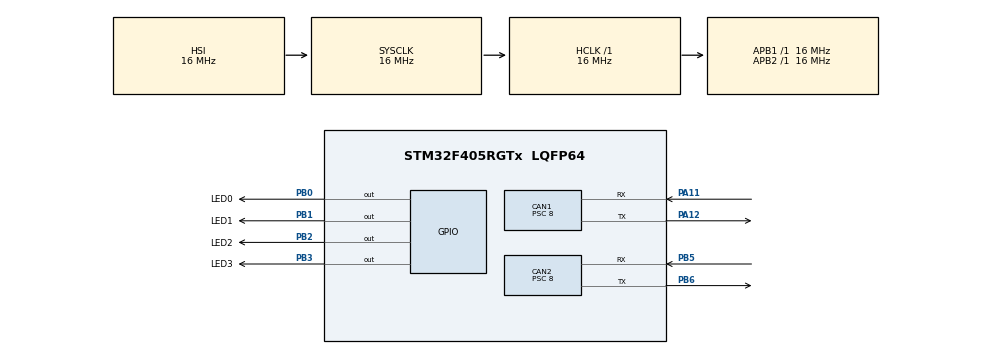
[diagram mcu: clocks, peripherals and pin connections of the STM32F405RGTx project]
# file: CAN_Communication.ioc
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CAN1.BS1=CAN_BS1_2TQ
CAN1.CalculateBaudRate=500000
CAN1.CalculateTimeBit=2000
CAN1.CalculateTimeQuantum=500.0
CAN1.Mode=CAN_MODE_LOOPBACK
CAN1.Prescaler=8
CAN2.BS1=CAN_BS1_2TQ
CAN2.CalculateBaudRate=500000
CAN2.CalculateTimeBit=2000
CAN2.CalculateTimeQuantum=500.0
CAN2.Mode=CAN_MODE_LOOPBACK
CAN2.Prescaler=8
Mcu.Family=STM32F4
Mcu.Name=STM32F405RGTx
Mcu.Package=LQFP64
NVIC.CAN1_RX0_IRQn=true\:0\:0\:false\:false\:true\:true\:true\:true
NVIC.CAN1_RX1_IRQn=true\:0\:0\:false\:false\:true\:true\:true\:true
NVIC.CAN2_RX0_IRQn=true\:0\:0\:false\:false\:true\:true\:true\:true
NVIC.CAN2_RX1_IRQn=true\:0\:0\:false\:false\:true\:true\:true\:true
NVIC.PriorityGroup=NVIC_PRIORITYGROUP_4
PA11.Mode=CAN_Activate
PA11.Signal=CAN1_RX
PA12.Mode=CAN_Activate
PA12.Signal=CAN1_TX
PB0.GPIO_Label=LED0
PB0.Signal=GPIO_Output
PB1.GPIO_Label=LED1
PB1.Signal=GPIO_Output
PB2.GPIO_Label=LED2
PB2.Signal=GPIO_Output
PB3.GPIO_Label=LED3
PB3.Signal=GPIO_Output
PB5.Mode=CAN_Activate
PB5.Signal=CAN2_RX
PB6.Mode=CAN_Activate
PB6.Signal=CAN2_TX
ProjectManager.HeapSize=0x200
ProjectManager.StackSize=0x400
ProjectManager.TargetToolchain=STM32CubeIDE
RCC.AHBFreq_Value=16000000
RCC.APB1Freq_Value=16000000
RCC.APB2Freq_Value=16000000
RCC.CortexFreq_Value=16000000
RCC.HSE_VALUE=25000000
RCC.HSI_VALUE=16000000
RCC.LSE_VALUE=32768
RCC.SYSCLKFreq_VALUE=16000000
RCC.VCOOutputFreq_Value=192000000
board=custom

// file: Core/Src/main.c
/* USER CODE BEGIN Header */
/**
  ******************************************************************************
  * @file           : main.c
  * @brief          : Main program body
  ******************************************************************************
  * @attention
  *
  * Copyright (c) 2023 STMicroelectronics.
  * All rights reserved.
  *
  * This software is licensed under terms that can be found in the LICENSE file
  * in the root directory of this software component.
  * If no LICENSE file comes with this software, it is provided AS-IS.
  *
  ******************************************************************************
  */
/* USER CODE END Header */
#include "main.h"

CAN_HandleTypeDef hcan1;
CAN_HandleTypeDef hcan2;

/* USER CODE BEGIN PV */
CAN_TxHeaderTypeDef TxHeader;
CAN_RxHeaderTypeDef RxHeader;

uint8_t TxData = 0;
uint8_t RxData = 0;

uint32_t TxMailbox;

int can1_flag = 0;
int can2_flag = 0;

//int can_flag = 0;
/* USER CODE END PV */

void SystemClock_Config(void);
static void MX_GPIO_Init(void);
static void MX_CAN1_Init(void);
static void MX_CAN2_Init(void);

int main(void)
{

  /* MCU Configuration--------------------------------------------------------*/

  /* Reset of all peripherals, Initializes the Flash interface and the Systick. */
  HAL_Init();

  /* Configure the system clock */
  SystemClock_Config();

  /* Initialize all configured peripherals */
  MX_GPIO_Init();
  MX_CAN1_Init();
  MX_CAN2_Init();
  /* USER CODE BEGIN 2 */
  HAL_CAN_Start(&hcan1);
  HAL_CAN_Start(&hcan2);

  HAL_CAN_ActivateNotification(&hcan1, CAN_IT_RX_FIFO0_MSG_PENDING);
  HAL_CAN_ActivateNotification(&hcan2, CAN_IT_RX_FIFO0_MSG_PENDING);

  TxHeader.IDE = CAN_ID_STD;
  TxHeader.StdId = 0x012;
  TxHeader.RTR = CAN_RTR_DATA;
  TxHeader.DLC = 2;
  /* USER CODE END 2 */

  /* Infinite loop */
  /* USER CODE BEGIN WHILE */
  while (1)
  {

		if (HAL_CAN_AddTxMessage(&hcan1, &TxHeader, &TxData, &TxMailbox) != HAL_OK)
		{
			HAL_GPIO_TogglePin(LED0_GPIO_Port, LED0_Pin);
		    Error_Handler();
		} else {
			HAL_GPIO_TogglePin(LED3_GPIO_Port, LED3_Pin);
		}

	  TxData++;
	  if (TxData >= 10) TxData = 0;
	  HAL_Delay(1000);

//	  HAL_CAN_AddTxMessage(&hcan1, &TxHeader, &TxData, &TxMailbox);
//	  TxData++;
//	  if (TxData >= 10) TxData = 0;
//	  HAL_Delay(1000);

    /* USER CODE END WHILE */

    /* USER CODE BEGIN 3 */
//	  if (can1_flag) {
//		  HAL_GPIO_WritePin(LED0_GPIO_Port, LED0_Pin, SET);
//		  HAL_GPIO_WritePin(LED1_GPIO_Port, LED1_Pin, RESET);
//		  can1_flag = 0;
//	  } else {
//		  HAL_GPIO_WritePin(LED0_GPIO_Port, LED0_Pin, RESET);
//		  HAL_GPIO_WritePin(LED1_GPIO_Port, LED1_Pin, SET);
//	  }
//
//	  if (can2_flag) {
//		  HAL_GPIO_WritePin(LED2_GPIO_Port, LED2_Pin, SET);
//		  HAL_GPIO_WritePin(LED3_GPIO_Port, LED3_Pin, RESET);
//		  can2_flag = 0;
//	  } else {
//		  HAL_GPIO_WritePin(LED2_GPIO_Port, LED2_Pin, RESET);
//		  HAL_GPIO_WritePin(LED3_GPIO_Port, LED3_Pin, SET);
//
//	  }
  }
  /* USER CODE END 3 */
}

void SystemClock_Config(void)
{
  RCC_OscInitTypeDef RCC_OscInitStruct = {0};
  RCC_ClkInitTypeDef RCC_ClkInitStruct = {0};

  /** Configure the main internal regulator output voltage
  */
  __HAL_RCC_PWR_CLK_ENABLE();
  __HAL_PWR_VOLTAGESCALING_CONFIG(PWR_REGULATOR_VOLTAGE_SCALE1);

  /** Initializes the RCC Oscillators according to the specified parameters
  * in the RCC_OscInitTypeDef structure.
  */
  RCC_OscInitStruct.OscillatorType = RCC_OSCILLATORTYPE_HSI;
  RCC_OscInitStruct.HSIState = RCC_HSI_ON;
  RCC_OscInitStruct.HSICalibrationValue = RCC_HSICALIBRATION_DEFAULT;
  RCC_OscInitStruct.PLL.PLLState = RCC_PLL_NONE;
  if (HAL_RCC_OscConfig(&RCC_OscInitStruct) != HAL_OK)
  {
    Error_Handler();
  }

  /** Initializes the CPU, AHB and APB buses clocks
  */
  RCC_ClkInitStruct.ClockType = RCC_CLOCKTYPE_HCLK|RCC_CLOCKTYPE_SYSCLK
                              |RCC_CLOCKTYPE_PCLK1|RCC_CLOCKTYPE_PCLK2;
  RCC_ClkInitStruct.SYSCLKSource = RCC_SYSCLKSOURCE_HSI;
  RCC_ClkInitStruct.AHBCLKDivider = RCC_SYSCLK_DIV1;
  RCC_ClkInitStruct.APB1CLKDivider = RCC_HCLK_DIV1;
  RCC_ClkInitStruct.APB2CLKDivider = RCC_HCLK_DIV1;

  if (HAL_RCC_ClockConfig(&RCC_ClkInitStruct, FLASH_LATENCY_0) != HAL_OK)
  {
    Error_Handler();
  }
}

static void MX_CAN1_Init(void)
{

  hcan1.Instance = CAN1;
  hcan1.Init.Prescaler = 8;
  hcan1.Init.Mode = CAN_MODE_LOOPBACK;
  hcan1.Init.SyncJumpWidth = CAN_SJW_1TQ;
  hcan1.Init.TimeSeg1 = CAN_BS1_2TQ;
  hcan1.Init.TimeSeg2 = CAN_BS2_1TQ;
  hcan1.Init.TimeTriggeredMode = DISABLE;
  hcan1.Init.AutoBusOff = DISABLE;
  hcan1.Init.AutoWakeUp = DISABLE;
  hcan1.Init.AutoRetransmission = DISABLE;
  hcan1.Init.ReceiveFifoLocked = DISABLE;
  hcan1.Init.TransmitFifoPriority = DISABLE;
  if (HAL_CAN_Init(&hcan1) != HAL_OK)
  {
    Error_Handler();
  }
  /* USER CODE BEGIN CAN1_Init 2 */
  CAN_FilterTypeDef canfilterconfig;

  canfilterconfig.FilterActivation = CAN_FILTER_ENABLE;
  canfilterconfig.FilterBank = 10;  // which filter bank to use from the assigned ones
  canfilterconfig.FilterFIFOAssignment = CAN_FILTER_FIFO0;
  canfilterconfig.FilterIdHigh = 0;
  canfilterconfig.FilterIdLow = 0x0000;
  canfilterconfig.FilterMaskIdHigh = 0;
  canfilterconfig.FilterMaskIdLow = 0x0000;
  canfilterconfig.FilterMode = CAN_FILTERMODE_IDMASK;
  canfilterconfig.FilterScale = CAN_FILTERSCALE_32BIT;
  canfilterconfig.SlaveStartFilterBank = 0;

  HAL_CAN_ConfigFilter(&hcan1, &canfilterconfig);
  /* USER CODE END CAN1_Init 2 */

}

static void MX_CAN2_Init(void)
{

  hcan2.Instance = CAN2;
  hcan2.Init.Prescaler = 8;
  hcan2.Init.Mode = CAN_MODE_LOOPBACK;
  hcan2.Init.SyncJumpWidth = CAN_SJW_1TQ;
  hcan2.Init.TimeSeg1 = CAN_BS1_2TQ;
  hcan2.Init.TimeSeg2 = CAN_BS2_1TQ;
  hcan2.Init.TimeTriggeredMode = DISABLE;
  hcan2.Init.AutoBusOff = DISABLE;
  hcan2.Init.AutoWakeUp = DISABLE;
  hcan2.Init.AutoRetransmission = DISABLE;
  hcan2.Init.ReceiveFifoLocked = DISABLE;
  hcan2.Init.TransmitFifoPriority = DISABLE;
  if (HAL_CAN_Init(&hcan2) != HAL_OK)
  {
    Error_Handler();
  }
  /* USER CODE BEGIN CAN2_Init 2 */
  CAN_FilterTypeDef canfilterconfig;

  canfilterconfig.FilterActivation = CAN_FILTER_ENABLE;
  canfilterconfig.FilterBank = 10;  // which filter bank to use from the assigned ones
  canfilterconfig.FilterFIFOAssignment = CAN_FILTER_FIFO0;
  canfilterconfig.FilterIdHigh = 0;
  canfilterconfig.FilterIdLow = 0x0000;
  canfilterconfig.FilterMaskIdHigh = 0;
  canfilterconfig.FilterMaskIdLow = 0x0000;
  canfilterconfig.FilterMode = CAN_FILTERMODE_IDMASK;
  canfilterconfig.FilterScale = CAN_FILTERSCALE_32BIT;
  canfilterconfig.SlaveStartFilterBank = 0;

  HAL_CAN_ConfigFilter(&hcan1, &canfilterconfig);
  /* USER CODE END CAN2_Init 2 */

}

static void MX_GPIO_Init(void)
{
  GPIO_InitTypeDef GPIO_InitStruct = {0};

  /* GPIO Ports Clock Enable */
  __HAL_RCC_GPIOB_CLK_ENABLE();
  __HAL_RCC_GPIOA_CLK_ENABLE();

  /*Configure GPIO pin Output Level */
  HAL_GPIO_WritePin(GPIOB, LED0_Pin|LED1_Pin|LED2_Pin|LED3_Pin, GPIO_PIN_RESET);

  /*Configure GPIO pins : LED0_Pin LED1_Pin LED2_Pin LED3_Pin */
  GPIO_InitStruct.Pin = LED0_Pin|LED1_Pin|LED2_Pin|LED3_Pin;
  GPIO_InitStruct.Mode = GPIO_MODE_OUTPUT_PP;
  GPIO_InitStruct.Pull = GPIO_NOPULL;
  GPIO_InitStruct.Speed = GPIO_SPEED_FREQ_LOW;
  HAL_GPIO_Init(GPIOB, &GPIO_InitStruct);

}

/* USER CODE BEGIN 4 */
void HAL_CAN_RxFifo0MsgPendingCallback(CAN_HandleTypeDef *hcan)
{
	if (HAL_CAN_GetRxMessage(hcan, CAN_RX_FIFO0, &RxHeader, &RxData) != HAL_OK)
	{
	    Error_Handler();
	}
	if (hcan-> Instance == CAN1) {
		can1_flag = 1;
	}
	if (hcan -> Instance == CAN2) {
		can2_flag = 1;
	}

}
/* USER CODE END 4 */

void Error_Handler(void)
{
  __disable_irq();
  while (1)
  {
  }
}
